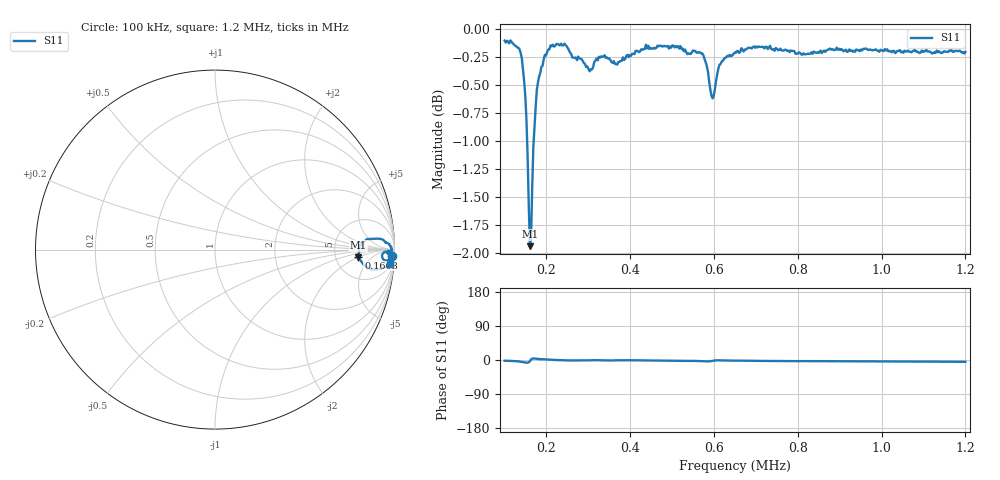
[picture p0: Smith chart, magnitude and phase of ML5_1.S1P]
!Agilent Technologies,E5071C,MY46100265,A.07.02
!Date: Wed Mar 04 14:58:09 2020
!Data & Calibration Information:
!Freq	S11:SOLT1(ON)
# Hz S MA R 50
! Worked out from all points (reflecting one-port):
!   402 points, 100 kHz to 1.2 MHz, reference 50 ohm
!   lowest |S11| = -1.9 dB at 160.3 kHz (marker M1), VSWR 8.99, Z = 424 - j102 ohm
!   phase of S11 starts at -2 deg and turns -3 deg over the sweep
!   S11 on the Smith chart (normalised r, x): 100 kHz: 18, -51; 160.3 kHz: 8.49, -2.05; 1.2 MHz: 6, -22
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100000  0.9879 -2.0
124688  0.9827 -3.1
138404  0.9752 -4.5
146633  0.9477 -6.1
152120  0.9109 -7.0
154863  0.8781 -7.3
160349  0.7998 -3.1
165835  0.8486 3.9
171322  0.9044 3.9
179551  0.9459 2.8
193267  0.9688 1.9
209726  0.983 0.8
239900  0.983 -0.6
259102  0.9742 -1.3
302993  0.9572 -0.9
330424  0.9719 -0.7
377057  0.9675 -0.7
514214  0.9823 -2.1
571820  0.9749 -3.1
585536  0.9565 -3.7
596509  0.9309 -2.1
607481  0.954 -0.8
618454  0.9669 -1.3
651372  0.9754 -1.6
788529  0.9774 -3.0
925686  0.9773 -3.4
1062843  0.9778 -4.0
1200000  0.9763 -4.8
